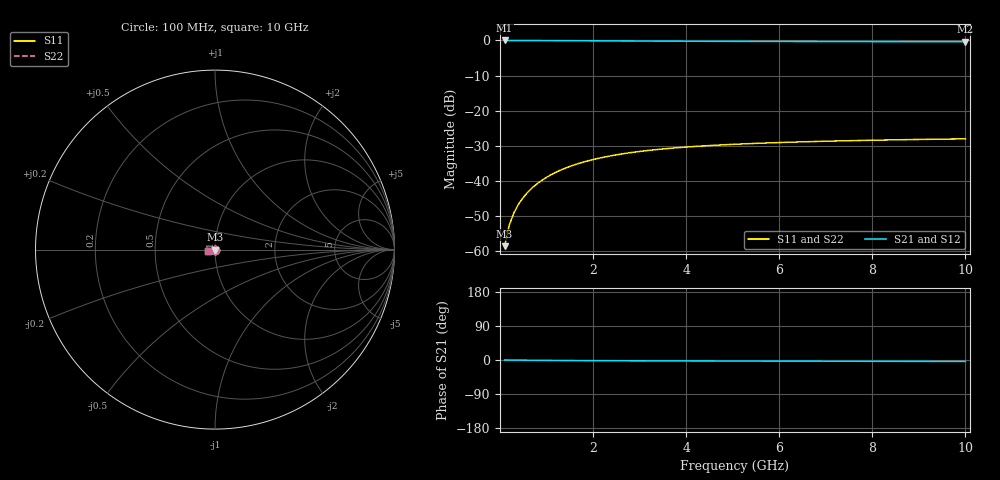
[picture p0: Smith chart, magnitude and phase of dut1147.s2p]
! Touchstone file exported from HFSS 2024.1.0
!  File:  C:/UserFiles/LocalFiles/RDL_TSV_Batchsim/temp_TSV1_1147_1780071613.aedt
!  Generated:  12:24:49 AM May 30, 2026
!  Design:  TSV1
!  Project:  temp_TSV1_1147_1780071613
!  Setup:  Setup1
!  Solution:  Sweep
! Variables:
!  dtsv = 13.7um
!  hbump = 3um
!  htsv = 55.97um
!  lrdl = 252.1521522um
!  p = 40
!  p1 = 52.7um
!  t = 500um
!  trdl = 3um
!  wrdl = 24.89489489um
# GHz S MA R 50.000000
! Terminal data exported
! Port[1] = TSV22_T1
! Port[2] = TSV22_T2
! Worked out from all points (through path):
!   100 points, 100 MHz to 10 GHz, reference 50 ohm
!   highest |S21| = 0.00 dB at 100 MHz (marker M1); lowest = -0.4 dB at 10 GHz (marker M2)
!   lowest |S11| = -58.6 dB at 100 MHz (marker M3), VSWR 1.00, Z = 50 - j0.117 ohm
!   |S11| at or under -10 dB: start of sweep to end of sweep
!   |S22| runs from -58.6 to -28.0 dB; largest |S21 - S12| = 3.1e-15
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0.1  0.001175 -88.4  0.9999 -0.1  0.9999 -0.1  0.001175 -88.4
! Gamma 0 0 0 0
! Port Impedance 50 0 50 0
0.2  0.002343 -91.9  0.9998 -0.2  0.9998 -0.2  0.002343 -91.9
0.3  0.003506 -94.3  0.9996 -0.3  0.9996 -0.3  0.003506 -94.3
0.4  0.004659 -96.4  0.9993 -0.4  0.9993 -0.4  0.004659 -96.4
0.5  0.005801 -98.4  0.999 -0.5  0.999 -0.5  0.005801 -98.4
0.6  0.006927 -100.2  0.9985 -0.6  0.9985 -0.6  0.006927 -100.2
0.7  0.008035 -102.1  0.9981 -0.7  0.9981 -0.7  0.008035 -102.1
0.8  0.009124 -103.9  0.9975 -0.8  0.9975 -0.8  0.009124 -103.9
0.9  0.01019 -105.6  0.997 -0.9  0.997 -0.9  0.01019 -105.6
1.1  0.01225 -109.0  0.9957 -1.1  0.9957 -1.1  0.01225 -109.0
1.4  0.01513 -113.8  0.9935 -1.3  0.9935 -1.3  0.01513 -113.8
1.6  0.01691 -116.9  0.992 -1.4  0.992 -1.4  0.01691 -116.9
1.8  0.01857 -119.8  0.9905 -1.6  0.9905 -1.6  0.01857 -119.8
2.1  0.02084 -123.8  0.9881 -1.7  0.9881 -1.7  0.02084 -123.8
2.5  0.02348 -128.7  0.9851 -1.9  0.9851 -1.9  0.02348 -128.7
2.9  0.02572 -133.1  0.9823 -2.1  0.9823 -2.1  0.02572 -133.1
3.4  0.02806 -137.9  0.9791 -2.3  0.9791 -2.3  0.02806 -137.9
4.2  0.03095 -144.4  0.9747 -2.5  0.9747 -2.5  0.03095 -144.4
5.1  0.03334 -150.2  0.9708 -2.7  0.9708 -2.7  0.03334 -150.2
6.7  0.03626 -158.3  0.9658 -3.1  0.9658 -3.1  0.03626 -158.3
8.4  0.03832 -165.0  0.9624 -3.5  0.9624 -3.5  0.03832 -165.0
10  0.03967 -170.4  0.9601 -3.8  0.9601 -3.8  0.03967 -170.4
